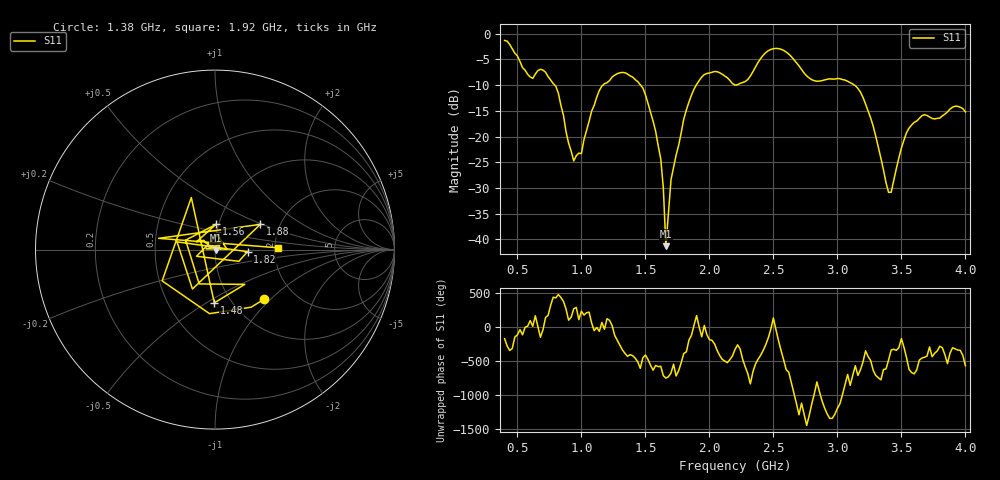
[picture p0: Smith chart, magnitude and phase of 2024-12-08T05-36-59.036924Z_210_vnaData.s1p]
!Created with skrf (http://scikit-rf.org).
# Hz S RI R 50.0
!freq ReS11 ImS11
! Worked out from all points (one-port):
!   181 points, 400 MHz to 4 GHz, reference 50 ohm
!   lowest |S11| = -41.3 dB at 1.66 GHz (marker M1), VSWR 1.02, Z = 50.8 - j0.418 ohm
!   |S11| at or under -10 dB: 791.7 MHz to 1.168 GHz (376.8 MHz wide, 38.4 % of centre); 1.462 GHz to 1.897 GHz (435.2 MHz wide, 25.9 % of centre); 3.133 GHz to end of sweep
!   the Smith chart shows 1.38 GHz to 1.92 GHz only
!   S11 on the Smith chart (normalised r, x): 1.38 GHz: 1.41, -0.92; 1.48 GHz: 0.83, -0.54; 1.56 GHz: 0.97, +0.28; 1.82 GHz: 1.44, -0.03; 1.88 GHz: 1.58, +0.49; 1.92 GHz: 2.07, +0.05
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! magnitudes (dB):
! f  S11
! 400 MHz  -1.3
! 600 MHz  -8.4
! 720 MHz  -7.5
! 860 MHz  -15.9
! 940 MHz  -24.8
! 1 GHz  -23.3
! 1.14 GHz  -11.0
! 1.3 GHz  -7.6
! 1.38 GHz  -8.2
! 1.48 GHz  -10.6
! 1.56 GHz  -17.0
! 1.62 GHz  -24.4
! 1.64 GHz  -30.0
! 1.66 GHz  -41.3
! 1.7 GHz  -28.4
! 1.76 GHz  -21.7
! 1.82 GHz  -14.8
! 1.88 GHz  -10.8
! 1.92 GHz  -9.1
! 2.2 GHz  -10.0
! 2.48 GHz  -3.1
! 2.66 GHz  -5.0
! 2.8 GHz  -9.0
! 3.1 GHz  -9.5
! 3.26 GHz  -16.4
! 3.4 GHz  -30.9
! 3.56 GHz  -18.4
! 4 GHz  -15.2
